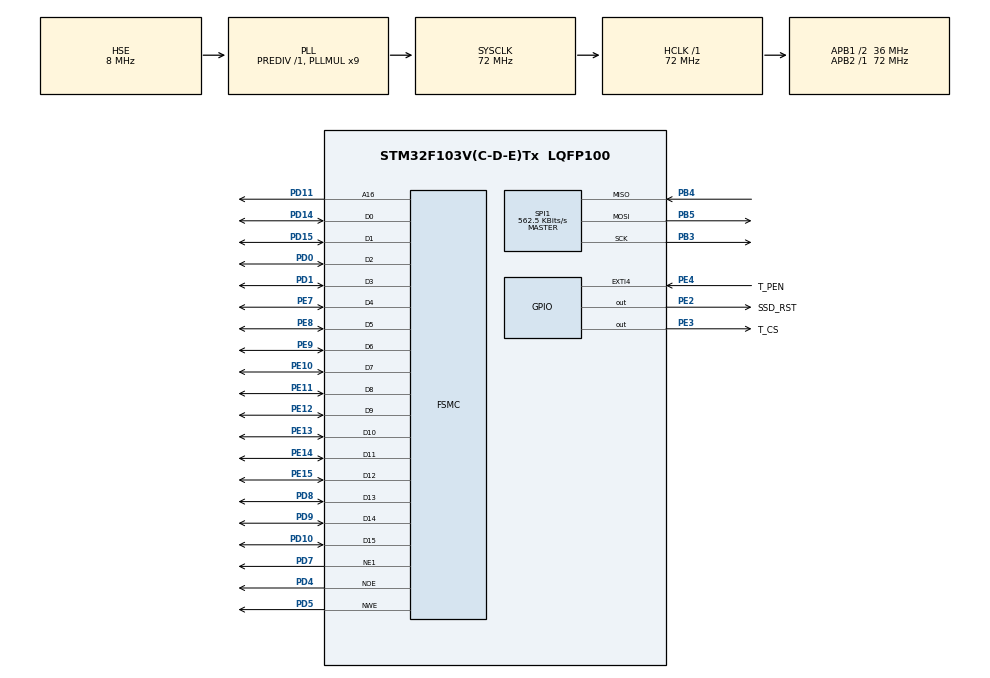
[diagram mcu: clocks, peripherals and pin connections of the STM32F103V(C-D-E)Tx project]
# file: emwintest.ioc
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FSMC.AddressSetupTime1=0x2
FSMC.BusTurnAroundDuration1=0x0
FSMC.DataSetupTime1=0x0a
Mcu.Family=STM32F1
Mcu.Name=STM32F103V(C-D-E)Tx
Mcu.Package=LQFP100
NVIC.PriorityGroup=NVIC_PRIORITYGROUP_4
NVIC.TIM6_IRQn=true\:0\:0\:false\:false\:true\:true\:true
OSC_IN.Mode=HSE-External-Oscillator
OSC_IN.Signal=RCC_OSC_IN
OSC_OUT.Mode=HSE-External-Oscillator
OSC_OUT.Signal=RCC_OSC_OUT
PA13.Mode=Serial_Wire
PA13.Signal=SYS_JTMS-SWDIO
PA14.Mode=Serial_Wire
PA14.Signal=SYS_JTCK-SWCLK
PB3.Mode=Full_Duplex_Master
PB3.Signal=SPI1_SCK
PB4.Mode=Full_Duplex_Master
PB4.Signal=SPI1_MISO
PB5.Mode=Full_Duplex_Master
PB5.Signal=SPI1_MOSI
PD0.Mode=16b-d1
PD0.Signal=FSMC_D2
PD1.Mode=16b-d1
PD1.Signal=FSMC_D3
PD10.Mode=16b-d1
PD10.Signal=FSMC_D15
PD11.Mode=A16_1
PD11.Signal=FSMC_A16
PD14.Mode=16b-d1
PD14.Signal=FSMC_D0
PD15.Mode=16b-d1
PD15.Signal=FSMC_D1
PD4.Mode=Lcd1
PD4.Signal=FSMC_NOE
PD5.Mode=Lcd1
PD5.Signal=FSMC_NWE
PD7.Mode=NorPsramChipSelect1_1
PD7.Signal=FSMC_NE1
PD8.Mode=16b-d1
PD8.Signal=FSMC_D13
PD9.Mode=16b-d1
PD9.Signal=FSMC_D14
PE10.Mode=16b-d1
PE10.Signal=FSMC_D7
PE11.Mode=16b-d1
PE11.Signal=FSMC_D8
PE12.Mode=16b-d1
PE12.Signal=FSMC_D9
PE13.Mode=16b-d1
PE13.Signal=FSMC_D10
PE14.Mode=16b-d1
PE14.Signal=FSMC_D11
PE15.Mode=16b-d1
PE15.Signal=FSMC_D12
PE2.GPIO_Label=SSD_RST
PE2.Signal=GPIO_Output
PE3.GPIO_Label=T_CS
PE3.Signal=GPIO_Output
PE4.GPIO_Label=T_PEN
PE4.GPIO_ModeDefaultEXTI=GPIO_MODE_EVT_FALLING
PE4.GPIO_PuPd=GPIO_PULLUP
PE4.Signal=GPXTI4
PE7.Mode=16b-d1
PE7.Signal=FSMC_D4
PE8.Mode=16b-d1
PE8.Signal=FSMC_D5
PE9.Mode=16b-d1
PE9.Signal=FSMC_D6
ProjectManager.HeapSize=0x200
ProjectManager.StackSize=0x400
ProjectManager.TargetToolchain=MDK-ARM V5
RCC.AHBFreq_Value=72000000
RCC.APB1CLKDivider=RCC_HCLK_DIV2
RCC.APB1Freq_Value=36000000
RCC.APB1TimFreq_Value=72000000
RCC.APB2Freq_Value=72000000
RCC.APB2TimFreq_Value=72000000
RCC.HCLKFreq_Value=72000000
RCC.PLLMUL=RCC_PLL_MUL9
RCC.PLLSourceVirtual=RCC_PLLSOURCE_HSE
RCC.SYSCLKFreq_VALUE=72000000
RCC.SYSCLKSource=RCC_SYSCLKSOURCE_PLLCLK
RCC.USBFreq_Value=72000000
SPI1.BaudRatePrescaler=SPI_BAUDRATEPRESCALER_128
SPI1.CalculateBaudRate=562.5 KBits/s
SPI1.Direction=SPI_DIRECTION_2LINES
SPI1.Mode=SPI_MODE_MASTER
SPI1.VirtualType=VM_MASTER
TIM6.Period=1000
TIM6.Prescaler=7200 - 1
VP_CRC_VS_CRC.Mode=CRC_Activate
VP_TIM6_VS_ClockSourceINT.Mode=Enable_Timer
board=custom

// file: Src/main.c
/* USER CODE BEGIN Header */
/**
  ******************************************************************************
  * @file           : main.c
  * @brief          : Main program body
  ******************************************************************************
  * @attention
  *
  * <h2><center>&copy; Copyright (c) 2019 STMicroelectronics.
  * All rights reserved.</center></h2>
  *
  * This software component is licensed by ST under BSD 3-Clause license,
  * the "License"; You may not use this file except in compliance with the
  * License. You may obtain a copy of the License at:
  *                        opensource.org/licenses/BSD-3-Clause
  *
  ******************************************************************************
  */
/* USER CODE END Header */
#include "main.h"
#include "crc.h"
#include "spi.h"
#include "tim.h"
#include "gpio.h"
#include "fsmc.h"

/* USER CODE BEGIN Includes */
#include "GUI.h"
#include "xpt2046.h"
#include "GUI_Touch_Calibrate.h"
#include "eeprom.h"
#include "stdbool.h"
/* USER CODE END Includes */

/* USER CODE BEGIN PV */
  int X;
  int Y;
	int TPX,TPY;
	int CX,CY;
	static uint16_t validData;
	bool calibrate = false;
	uint32_t size;
/* USER CODE END PV */

void SystemClock_Config(void);
/* USER CODE BEGIN PFP */
extern void MainTask(void);
/* USER CODE END PFP */

/* USER CODE BEGIN 0 */
/**
  * @brief  Period elapsed callback in non blocking mode
  * @param  htim : TIM handle
  * @retval None
  */
void HAL_TIM_PeriodElapsedCallback(TIM_HandleTypeDef *htim)
{
    if(htim->Instance == TIM6)
    {
			TP_GetAdXY(&TPX,&TPY);
			CX = calibrate_X(TPX,TPY);
			CY = calibrate_Y(TPX,TPY);

			if(CY > 1000)
			{
				CX = -10;
				CY = -10;
			}

			GUI_TOUCH_StoreState(CX,CY);
    }
}
/* USER CODE END 0 */

int main(void)
{

  /* MCU Configuration--------------------------------------------------------*/

  /* Reset of all peripherals, Initializes the Flash interface and the Systick. */
  HAL_Init();

  /* Configure the system clock */
  SystemClock_Config();

  /* Initialize all configured peripherals */
  MX_GPIO_Init();
  MX_FSMC_Init();
  MX_CRC_Init();
  MX_SPI1_Init();
  MX_TIM6_Init();
  /* USER CODE BEGIN 2 */
	GUI_Init();

	HAL_FLASH_Unlock();

  EE_Init();

	EE_ReadVariable(14,&validData);

	if(validData == 0)
	{
	  exec_calibration(480,272);
		EE_WriteVariable(14,1);
		GUI_Clear();
		calibrate = true;
	}
  else
	{
		read_calibration();
		calibrate = true;
	}

	HAL_FLASH_Lock();

	GUI_SetBkColor(GUI_BLACK);
	GUI_Clear();

	GUI_CURSOR_Show();

	HAL_TIM_Base_Start_IT(&htim6);

	//MainTask();

  /* USER CODE END 2 */

  /* Infinite loop */
  while (1)
  {

    /* USER CODE BEGIN 3 */
 		GUI_Delay(50);

		GUI_CURSOR_SetPosition(CX,CY);

  }
  /* USER CODE END 3 */
}

void SystemClock_Config(void)
{
  RCC_OscInitTypeDef RCC_OscInitStruct = {0};
  RCC_ClkInitTypeDef RCC_ClkInitStruct = {0};

  /** Initializes the RCC Oscillators according to the specified parameters
  * in the RCC_OscInitTypeDef structure.
  */
  RCC_OscInitStruct.OscillatorType = RCC_OSCILLATORTYPE_HSE;
  RCC_OscInitStruct.HSEState = RCC_HSE_ON;
  RCC_OscInitStruct.HSEPredivValue = RCC_HSE_PREDIV_DIV1;
  RCC_OscInitStruct.HSIState = RCC_HSI_ON;
  RCC_OscInitStruct.PLL.PLLState = RCC_PLL_ON;
  RCC_OscInitStruct.PLL.PLLSource = RCC_PLLSOURCE_HSE;
  RCC_OscInitStruct.PLL.PLLMUL = RCC_PLL_MUL9;
  if (HAL_RCC_OscConfig(&RCC_OscInitStruct) != HAL_OK)
  {
    Error_Handler();
  }
  /** Initializes the CPU, AHB and APB buses clocks
  */
  RCC_ClkInitStruct.ClockType = RCC_CLOCKTYPE_HCLK|RCC_CLOCKTYPE_SYSCLK
                              |RCC_CLOCKTYPE_PCLK1|RCC_CLOCKTYPE_PCLK2;
  RCC_ClkInitStruct.SYSCLKSource = RCC_SYSCLKSOURCE_PLLCLK;
  RCC_ClkInitStruct.AHBCLKDivider = RCC_SYSCLK_DIV1;
  RCC_ClkInitStruct.APB1CLKDivider = RCC_HCLK_DIV2;
  RCC_ClkInitStruct.APB2CLKDivider = RCC_HCLK_DIV1;

  if (HAL_RCC_ClockConfig(&RCC_ClkInitStruct, FLASH_LATENCY_2) != HAL_OK)
  {
    Error_Handler();
  }
}

void Error_Handler(void)
{
}

/************************ (C) COPYRIGHT STMicroelectronics *****END OF FILE****/
